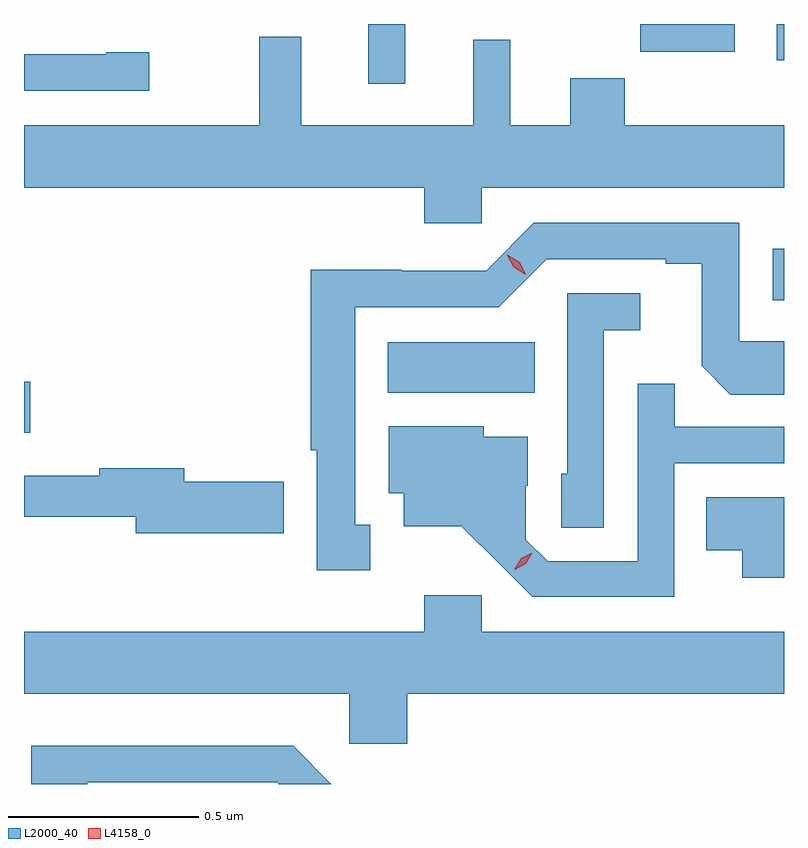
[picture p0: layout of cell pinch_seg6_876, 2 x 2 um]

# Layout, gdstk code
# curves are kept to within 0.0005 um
import gdstk
lib = gdstk.Library(unit=1e-6, precision=1e-09)
def R(c, l, rs):  # rectangles x0, y0, x1, y1
    for r in rs: c.add(gdstk.rectangle(r[:2], r[2:], *l))
def P(c, l, *ps):  # polygons
    for p in ps: c.add(gdstk.Polygon(p, *l))
L2000_40 = (2000, 40)
L4158_0 = (4158, 0)

pinch_seg6_876 = lib.new_cell('pinch_seg6_876')
R(pinch_seg6_876, L2000_40, [(123.314,978.659,123.331,978.794), (124.271,978.764,124.658,978.898), (125.285,979.008,125.314,979.144), (124.22,979.578,124.317,979.735), (125.295,979.64,125.314,979.735), (124.936,979.662,125.185,979.735)])
P(pinch_seg6_876, L2000_40, [(124.518,979.304),(125.314,979.304),(125.314,979.468),(124.895,979.468),(124.895,979.592),(124.751,979.592),(124.751,979.468),(124.594,979.468),(124.594,979.693),(124.496,979.693),(124.496,979.468),(124.043,979.468),(124.043,979.702),(123.933,979.702),(123.933,979.468),(123.314,979.468),(123.314,979.304),(124.367,979.304),(124.367,979.211),(124.518,979.211)],
  [(123.643,979.661),(123.53,979.661),(123.53,979.656),(123.314,979.656),(123.314,979.56),(123.643,979.56)],
  [(124.225,978.417),(124.186,978.417),(124.186,978.99),(124.563,978.99),(124.689,979.116),(125.003,979.116),(125.003,979.104),(125.097,979.104),(125.097,978.836),(125.173,978.76),(125.314,978.76),(125.314,978.9),(125.196,978.9),(125.196,979.212),(124.656,979.212),(124.53,979.086),(124.308,979.086),(124.308,979.088),(124.068,979.088),(124.068,978.613),(124.085,978.613),(124.085,978.297),(124.225,978.297)],
  [(124.839,978.929),(124.936,978.929),(124.936,979.026),(124.743,979.026),(124.743,978.552),(124.728,978.552),(124.728,978.409),(124.839,978.409)],
  [(125.025,978.579),(125.314,978.579),(125.314,978.675),(125.027,978.675),(125.027,978.788),(124.929,978.788),(124.929,978.321),(124.692,978.321),(124.635,978.378),(124.635,978.52),(124.639,978.52),(124.639,978.649),(124.524,978.649),(124.524,978.676),(124.274,978.676),(124.274,978.5),(124.313,978.5),(124.313,978.413),(124.465,978.413),(124.652,978.228),(125.025,978.228)],
  [(123.997,978.53),(123.736,978.53),(123.736,978.566),(123.512,978.566),(123.512,978.546),(123.314,978.546),(123.314,978.438),(123.608,978.438),(123.608,978.395),(123.997,978.395)],
  [(125.314,978.49),(125.11,978.49),(125.11,978.35),(125.204,978.35),(125.204,978.278),(125.314,978.278)],
  [(124.322,977.972),(125.314,977.972),(125.314,978.136),(124.518,978.136),(124.518,978.232),(124.367,978.232),(124.367,978.136),(123.314,978.136),(123.314,977.972),(124.17,977.972),(124.17,977.841),(124.322,977.841)],
  [(123.481,977.739),(123.981,977.739),(123.985,977.735),(124.123,977.735),(124.022,977.836),(123.333,977.836),(123.333,977.735),(123.481,977.735)])
P(pinch_seg6_876, L4158_0, [(124.604,978.299),(124.604,978.299),(124.622,978.329),(124.652,978.344),(124.652,978.344),(124.652,978.344),(124.635,978.314),(124.605,978.299)],
  [(124.634,979.075),(124.603,979.095),(124.586,979.127),(124.586,979.128),(124.586,979.128),(124.618,979.108),(124.635,979.076),(124.635,979.075)])

lib.write_gds('pinch_seg6_876.gds')
